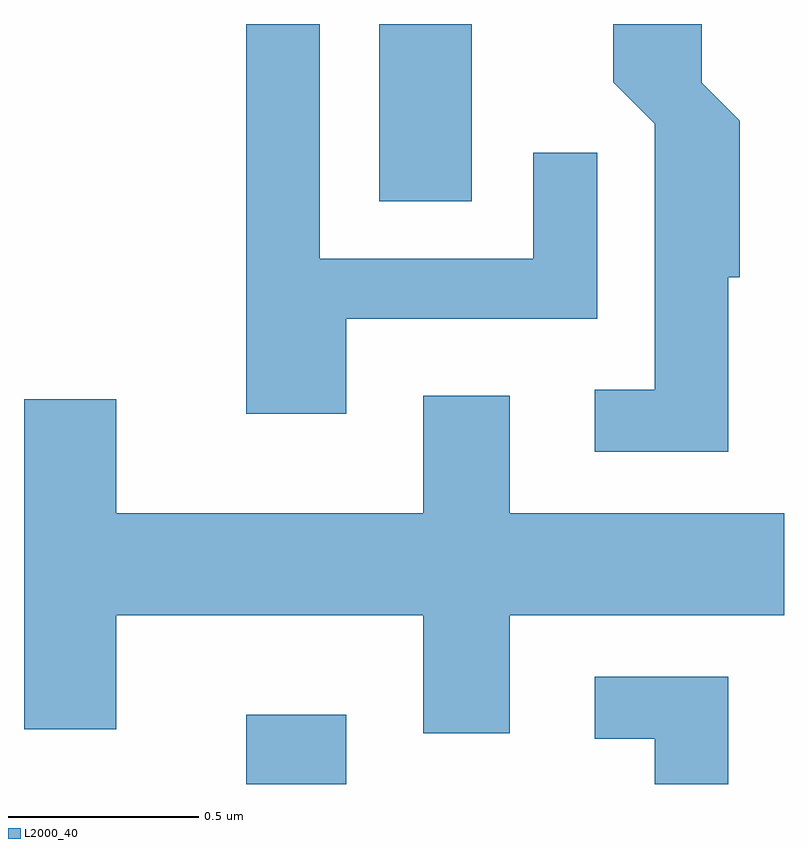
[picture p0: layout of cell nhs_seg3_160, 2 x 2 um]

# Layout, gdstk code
import gdstk
lib = gdstk.Library(unit=1e-6, precision=1e-09)
def R(c, l, rs):  # rectangles x0, y0, x1, y1
    for r in rs: c.add(gdstk.rectangle(r[:2], r[2:], *l))
def P(c, l, *ps):  # polygons
    for p in ps: c.add(gdstk.Polygon(p, *l))
L2000_40 = (2000, 40)

nhs_seg3_160 = lib.new_cell('nhs_seg3_160')
R(nhs_seg3_160, L2000_40, [(187.196,1138.892,187.459,1139.074), (187.546,1140.426,187.789,1140.892)])
P(nhs_seg3_160, L2000_40, [(188.464,1140.226),(188.494,1140.226),(188.494,1140.637),(188.394,1140.737),(188.394,1140.892),(188.161,1140.892),(188.161,1140.739),(188.271,1140.629),(188.271,1139.929),(188.113,1139.929),(188.113,1139.766),(188.464,1139.766)],
  [(187.459,1140.116),(188.119,1140.116),(188.119,1140.553),(187.951,1140.553),(187.951,1140.274),(187.389,1140.274),(187.389,1140.892),(187.196,1140.892),(187.196,1139.866),(187.459,1139.866)],
  [(187.889,1139.336),(188.611,1139.336),(188.611,1139.604),(187.889,1139.604),(187.889,1139.914),(187.661,1139.914),(187.661,1139.604),(186.854,1139.604),(186.854,1139.904),(186.611,1139.904),(186.611,1139.036),(186.854,1139.036),(186.854,1139.336),(187.661,1139.336),(187.661,1139.026),(187.889,1139.026)],
  [(188.464,1139.174),(188.113,1139.174),(188.113,1139.011),(188.271,1139.011),(188.271,1138.892),(188.464,1138.892)])

lib.write_gds('nhs_seg3_160.gds')
